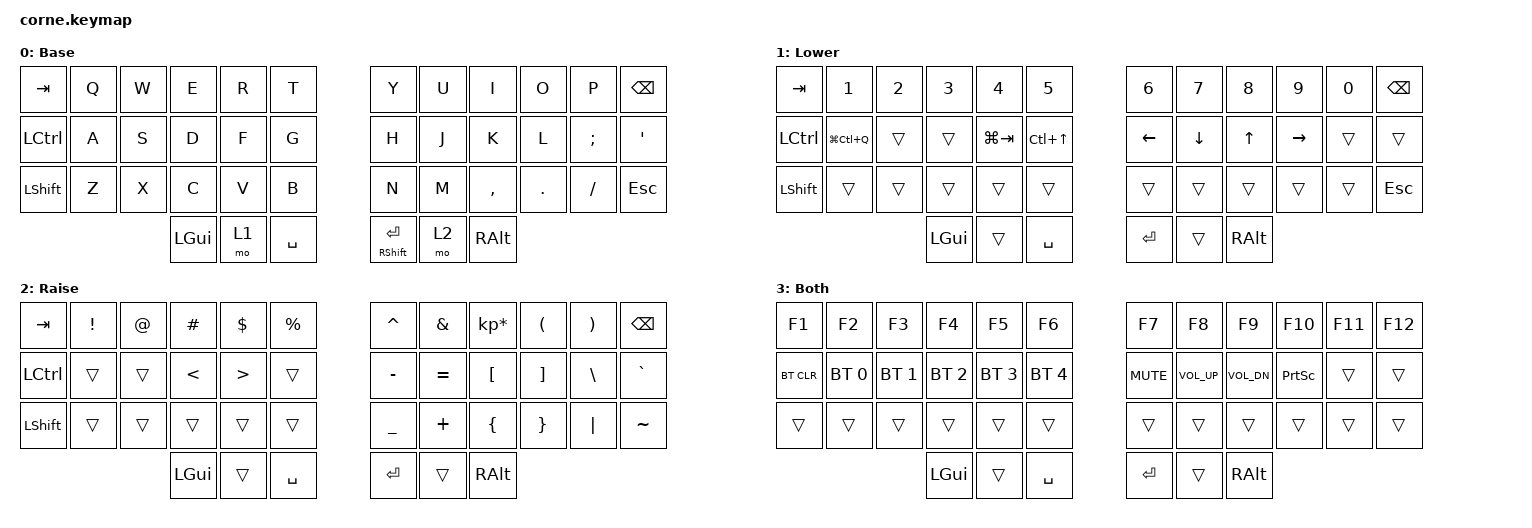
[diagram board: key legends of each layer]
/*
 * Copyright (c) 2020 The ZMK Contributors
 *
 * SPDX-License-Identifier: MIT
 */

#include <behaviors.dtsi>
#include <dt-bindings/zmk/bt.h>
#include <dt-bindings/zmk/keys.h>

/ {
    keymap {
        compatible = "zmk,keymap";

        default_layer {
            // -----------------------------------------------------------------------------------------
            // |  TAB |  Q  |  W  |  E  |  R  |  T  |   |  Y  |  U   |  I  |  O  |  P  | BKSP |
            // | CTRL |  A  |  S  |  D  |  F  |  G  |   |  H  |  J   |  K  |  L  |  ;  |  '   |
            // | SHFT |  Z  |  X  |  C  |  V  |  B  |   |  N  |  M   |  ,  |  .  |  /  | ESC  |
            //                    | GUI | LWR | SPC |   | ENT | RSE  | ALT |

            label = "Base";
            bindings = <
&kp TAB    &kp Q  &kp W  &kp E     &kp R  &kp T        &kp Y            &kp U  &kp I      &kp O    &kp P     &kp BSPC
&kp LCTRL  &kp A  &kp S  &kp D     &kp F  &kp G        &kp H            &kp J  &kp K      &kp L    &kp SEMI  &kp SQT
&kp LSHFT  &kp Z  &kp X  &kp C     &kp V  &kp B        &kp N            &kp M  &kp COMMA  &kp DOT  &kp FSLH  &kp ESC
                         &kp LGUI  &mo 1  &kp SPACE    &mt RSHFT ENTER  &mo 2  &kp RALT
            >;
        };

        lower_layer {
            // -----------------------------------------------------------------------------------------
            // |  TAB |  1  |  2  |  3  |  4  |  5  |   |  6  |  7  |  8  |  9  |  0  | BKSP |
            // | BTCLR| BT1 | BT2 | BT3 | BT4 | BT5 |   | LFT | DWN |  UP | RGT |     |      |
            // | SHFT |     |     |     |     |     |   |     |     |     |     |     |      |
            //                    | GUI |     | SPC |   | ENT |     | ALT |

            label = "Lower";
            bindings = <
&kp TAB           &kp N1         &kp N2  &kp N3    &kp N4       &kp N5              &kp N6    &kp N7    &kp N8    &kp N9     &kp N0  &kp BSPC
&kp LEFT_CONTROL  &kp LG(LC(Q))  &trans  &trans    &kp LG(TAB)  &kp LC(UP_ARROW)    &kp LEFT  &kp DOWN  &kp UP    &kp RIGHT  &trans  &trans
&kp LSHFT         &trans         &trans  &trans    &trans       &trans              &trans    &trans    &trans    &trans     &trans  &kp ESC
                                         &kp LGUI  &trans       &kp SPACE           &kp RET   &trans    &kp RALT
            >;
        };

        raise_layer {
            // -----------------------------------------------------------------------------------------
            // |  TAB |  !  |  @  |  #  |  $  |  %  |   |  ^  |  &  |  *  |  (  |  )  | BKSP |
            // | CTRL |     |     |     |     |     |   |  -  |  =  |  [  |  ]  |  \  |  `   |
            // | SHFT |     |     |     |     |     |   |  _  |  +  |  {  |  }  | "|" |  ~   |
            //                    | GUI |     | SPC |   | ENT |     | ALT |

            label = "Raise";
            bindings = <
&kp TAB    &kp EXCL  &kp AT  &kp HASH       &kp DLLR          &kp PRCNT    &kp CARET  &kp AMPS   &kp KP_MULTIPLY  &kp LPAR  &kp RPAR  &kp BSPC
&kp LCTRL  &trans    &trans  &kp LESS_THAN  &kp GREATER_THAN  &trans       &kp MINUS  &kp EQUAL  &kp LBKT         &kp RBKT  &kp BSLH  &kp GRAVE
&kp LSHFT  &trans    &trans  &trans         &trans            &trans       &kp UNDER  &kp PLUS   &kp LBRC         &kp RBRC  &kp PIPE  &kp TILDE
                             &kp LGUI       &trans            &kp SPACE    &kp RET    &trans     &kp RALT
            >;
        };

        both_layer {
            bindings = <
&kp F1      &kp F2        &kp F3        &kp F4        &kp F5        &kp F6          &kp F7      &kp F8        &kp F9        &kp F10          &kp F11  &kp F12
&bt BT_CLR  &bt BT_SEL 0  &bt BT_SEL 1  &bt BT_SEL 2  &bt BT_SEL 3  &bt BT_SEL 4    &kp C_MUTE  &kp C_VOL_UP  &kp C_VOL_DN  &kp PRINTSCREEN  &trans   &trans
&trans      &trans        &trans        &trans        &trans        &trans          &trans      &trans        &trans        &trans           &trans   &trans
                                        &kp LGUI      &trans        &kp SPACE       &kp ENTER   &trans        &kp RALT
            >;

            label = "Both";
        };
    };

    conditional_layers {
        compatible = "zmk,conditional-layers";

        both_layer {
            if-layers = <1 2>;
            then-layer = <3>;
        };
    };
};
